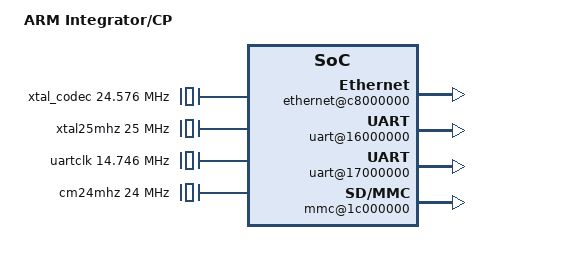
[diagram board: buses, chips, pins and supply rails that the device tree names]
/*
 * Device Tree for the ARM Integrator/CP platform
 */

/dts-v1/;
/include/ "integrator.dtsi"

/ {
	model = "ARM Integrator/CP";
	compatible = "arm,integrator-cp";

	chosen {
		bootargs = "root=/dev/ram0 console=ttyAMA0,38400n8 earlyprintk";
	};

	/*
	 * The Integrator/CP overall clocking architecture can be found in
	 * ARM DUI 0184B page 7-28 "Integrator/CP922T system clocks" which
	 * appear to illustrate the layout used in most configurations.
	 */

	/* The codec chrystal operates at 24.576 MHz */
	xtal_codec: xtal24.576@24.576M {
		#clock-cells = <0>;
		compatible = "fixed-clock";
		clock-frequency = <24576000>;
	};

	/* The chrystal is divided by 2 by the codec for the AACI bit clock */
	aaci_bitclk: aaci_bitclk@12.288M {
		#clock-cells = <0>;
		compatible = "fixed-factor-clock";
		clock-div = <2>;
		clock-mult = <1>;
		clocks = <&xtal_codec>;
	};

	/* This is a 25MHz chrystal on the base board */
	xtal25mhz: xtal25mhz@25M {
		#clock-cells = <0>;
		compatible = "fixed-clock";
		clock-frequency = <25000000>;
	};

	/* The UART clock is 14.74 MHz divided from 25MHz by an ICS525 */
	uartclk: uartclk@14.74M {
		#clock-cells = <0>;
		compatible = "fixed-clock";
		clock-frequency = <14745600>;
	};

	/* Actually sysclk I think */
	pclk: pclk@0 {
		#clock-cells = <0>;
		compatible = "fixed-clock";
		clock-frequency = <0>;
	};

	core-module@10000000 {
		/* 24 MHz chrystal on the core module */
		cm24mhz: cm24mhz@24M {
			#clock-cells = <0>;
			compatible = "fixed-clock";
			clock-frequency = <24000000>;
		};

		/* Oscillator on the core module, clocks the CPU core */
		cmcore: cmosc@24M {
			compatible = "arm,syscon-icst525-integratorcp-cm-core";
			#clock-cells = <0>;
			lock-offset = <0x14>;
			vco-offset = <0x08>;
			clocks = <&cm24mhz>;
		};

		/* Oscillator on the core module, clocks the memory bus */
		cmmem: cmosc@24M {
			compatible = "arm,syscon-icst525-integratorcp-cm-mem";
			#clock-cells = <0>;
			lock-offset = <0x14>;
			vco-offset = <0x08>;
			clocks = <&cm24mhz>;
		};

		/* Auxilary oscillator on the core module, clocks the CLCD */
		auxosc: auxosc@24M {
			compatible = "arm,syscon-icst525";
			#clock-cells = <0>;
			lock-offset = <0x14>;
			vco-offset = <0x1c>;
			clocks = <&cm24mhz>;
		};

		/* The KMI clock is the 24 MHz oscillator divided to 8MHz */
		kmiclk: kmiclk@1M {
			#clock-cells = <0>;
			compatible = "fixed-factor-clock";
			clock-div = <3>;
			clock-mult = <1>;
			clocks = <&cm24mhz>;
		};

		/* The timer clock is the 24 MHz oscillator divided to 1MHz */
		timclk: timclk@1M {
			#clock-cells = <0>;
			compatible = "fixed-factor-clock";
			clock-div = <24>;
			clock-mult = <1>;
			clocks = <&cm24mhz>;
		};
	};

	syscon {
		compatible = "arm,integrator-cp-syscon", "syscon";
		reg = <0xcb000000 0x100>;
	};

	timer0: timer@13000000 {
		/* TIMER0 runs directly on the 25MHz chrystal */
		compatible = "arm,integrator-cp-timer";
		clocks = <&xtal25mhz>;
	};

	timer1: timer@13000100 {
		/* TIMER1 runs @ 1MHz */
		compatible = "arm,integrator-cp-timer";
		clocks = <&timclk>;
	};

	timer2: timer@13000200 {
		/* TIMER2 runs @ 1MHz */
		compatible = "arm,integrator-cp-timer";
		clocks = <&timclk>;
	};

	pic: pic@14000000 {
		valid-mask = <0x1fc003ff>;
	};

	cic: cic@10000040 {
		compatible = "arm,versatile-fpga-irq";
		#interrupt-cells = <1>;
		interrupt-controller;
		reg = <0x10000040 0x100>;
		clear-mask = <0xffffffff>;
		valid-mask = <0x00000007>;
	};

	/* The SIC is cascaded off IRQ 26 on the PIC */
	sic: sic@ca000000 {
		compatible = "arm,versatile-fpga-irq";
		interrupt-parent = <&pic>;
		interrupts = <26>;
		#interrupt-cells = <1>;
		interrupt-controller;
		reg = <0xca000000 0x100>;
		clear-mask = <0x00000fff>;
		valid-mask = <0x00000fff>;
	};

	ethernet@c8000000 {
		compatible = "smsc,lan91c111";
		reg = <0xc8000000 0x10>;
		interrupt-parent = <&pic>;
		interrupts = <27>;
	};

	fpga {
		/*
		 * These PrimeCells are at the same location and using
		 * the same interrupts in all Integrators, but in the CP
		 * slightly newer versions are deployed.
		 */
		rtc@15000000 {
			compatible = "arm,pl031", "arm,primecell";
			clocks = <&pclk>;
			clock-names = "apb_pclk";
		};

		uart@16000000 {
			compatible = "arm,pl011", "arm,primecell";
			clocks = <&uartclk>, <&pclk>;
			clock-names = "uartclk", "apb_pclk";
		};

		uart@17000000 {
			compatible = "arm,pl011", "arm,primecell";
			clocks = <&uartclk>, <&pclk>;
			clock-names = "uartclk", "apb_pclk";
		};

		kmi@18000000 {
			compatible = "arm,pl050", "arm,primecell";
			clocks = <&kmiclk>, <&pclk>;
			clock-names = "KMIREFCLK", "apb_pclk";
		};

		kmi@19000000 {
			compatible = "arm,pl050", "arm,primecell";
			clocks = <&kmiclk>, <&pclk>;
			clock-names = "KMIREFCLK", "apb_pclk";
		};

		/*
		 * These PrimeCells are only available on the Integrator/CP
		 */
		mmc@1c000000 {
			compatible = "arm,pl180", "arm,primecell";
			reg = <0x1c000000 0x1000>;
			interrupts = <23 24>;
			max-frequency = <515633>;
			clocks = <&uartclk>, <&pclk>;
			clock-names = "mclk", "apb_pclk";
		};

		aaci@1d000000 {
			compatible = "arm,pl041", "arm,primecell";
			reg = <0x1d000000 0x1000>;
			interrupts = <25>;
			clocks = <&pclk>;
			clock-names = "apb_pclk";
		};

		clcd@c0000000 {
			compatible = "arm,pl110", "arm,primecell";
			reg = <0xC0000000 0x1000>;
			interrupts = <22>;
			clocks = <&auxosc>, <&pclk>;
			clock-names = "clcdclk", "apb_pclk";

			port {
				/*
				 * The VGA connected is implemented with a
				 * THS8134A triple DAC that can be run in 24bit
				 * or 16bit RGB mode.
				 */
				clcd_pads: endpoint {
					remote-endpoint = <&clcd_panel>;
					arm,pl11x,tft-r0g0b0-pads = <1 7 13>;
				};
			};

			panel {
				compatible = "panel-dpi";

				port {
					clcd_panel: endpoint {
						remote-endpoint = <&clcd_pads>;
					};
				};

				/* Standard 640x480 VGA timings */
				panel-timing {
					clock-frequency = <25175000>;
					hactive = <640>;
					hback-porch = <48>;
					hfront-porch = <16>;
					hsync-len = <96>;
					vactive = <480>;
					vback-porch = <33>;
					vfront-porch = <10>;
					vsync-len = <2>;
				};
			};
		};
	};
};
